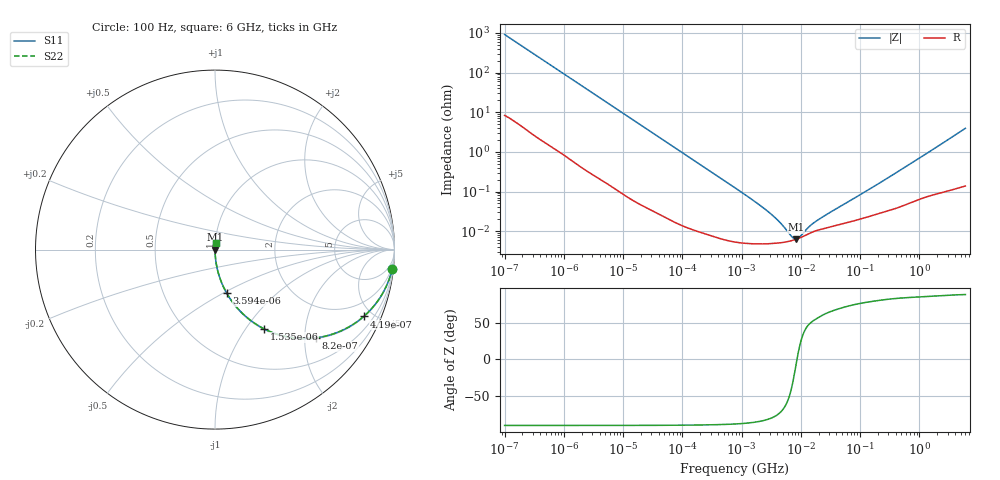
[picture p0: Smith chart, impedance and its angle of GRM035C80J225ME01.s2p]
!Murata Part Number: GRM035C80J225ME01
!These Parameters are Measured in Series Mode Connection
!Data Generated on Mar 30, 2021
!  o--ll--o
!Port1  Port2
!  o------o
!Operation Temp=25[degC], DC Bias Voltage=0[V]
!Freq. Start=100[Hz] Stop=6[GHz] 401[Steps]
# Hz S RI R 50
!Freq.(Hz) S11(Real) S11(Imag) S21(Real) S21(Imag) S12(Real) S12(Imag) S22(Real) S22(Imag)
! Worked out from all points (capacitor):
!   401 points, 100 Hz to 6 GHz, reference 50 ohm
!   read as one part in series: C = 1.73 uF near 109 Hz
!   lowest |Z| = 6.3 mohm at 8.312 MHz (marker M1)
!   series resonance near 8.617 MHz, so ESL is about 200 pH
!   S11 on the Smith chart (normalised r, x): 100 Hz: 1, -18; 419 Hz: 1.04, -4.43; 820 Hz: 1.02, -2.27; 1.535 kHz: 1.01, -1.22; 3.594 kHz: 1.00, -0.52; 6 GHz: 1.00, +0.08
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100  0.9874 -0.1072  0.0126 0.1072  0.0126 0.1072  0.9874 -0.1072
224  0.9428 -0.2276  0.0572 0.2276  0.0572 0.2276  0.9428 -0.2276
419  0.8286 -0.3725  0.1714 0.3725  0.1714 0.3725  0.8286 -0.3725
600  0.7048 -0.4517  0.2952 0.4517  0.2952 0.4517  0.7048 -0.4517
820  0.5629 -0.4916  0.4371 0.4916  0.4371 0.4916  0.5629 -0.4916
1122  0.4099 -0.4874  0.5901 0.4874  0.5901 0.4874  0.4099 -0.4874
1535  0.2725 -0.4409  0.7275 0.4409  0.7275 0.4409  0.2725 -0.4409
2008  0.1807 -0.3805  0.8193 0.3805  0.8193 0.3805  0.1807 -0.3805
3594  0.0658 -0.2436  0.9342 0.2436  0.9342 0.2436  0.0658 -0.2436
10066  0.00956 -0.0929  0.9904 0.0929  0.9904 0.0929  0.00956 -0.0929
40335  0.000825 -0.0236  0.9992 0.0236  0.9992 0.0236  0.000825 -0.0236
774597  5.47e-05 -0.00124  0.9999 0.00124  0.9999 0.00124  5.47e-05 -0.00124
2837864  4.83e-05 -0.000304  1 0.000304  1 0.000304  4.83e-05 -0.000304
4060267  5e-05 -0.000184  1 0.000184  1 0.000184  5e-05 -0.000184
5809218  5.41e-05 -8.93e-05  0.9999 8.93e-05  0.9999 8.93e-05  5.41e-05 -8.93e-05
6353432  5.57e-05 -6.8e-05  0.9999 6.8e-05  0.9999 6.8e-05  5.57e-05 -6.8e-05
8311524  6.25e-05 -7.7e-06  0.9999 7.7e-06  0.9999 7.7e-06  6.25e-05 -7.7e-06
1.137099e7  7.57e-05 5.79e-05  0.9999 -5.79e-05  0.9999 -5.79e-05  7.57e-05 5.79e-05
1.555665e7  9.45e-05 0.000118  0.9999 -0.000118  0.9999 -0.000118  9.45e-05 0.000118
2.784235e7  0.000122 0.00024  0.9999 -0.00024  0.9999 -0.00024  0.000122 0.00024
3.124326e8  0.000338 0.00231  0.9997 -0.00231  0.9997 -0.00231  0.000338 0.00231
6e9  0.00293 0.0393  0.9971 -0.0393  0.9971 -0.0393  0.00293 0.0393
